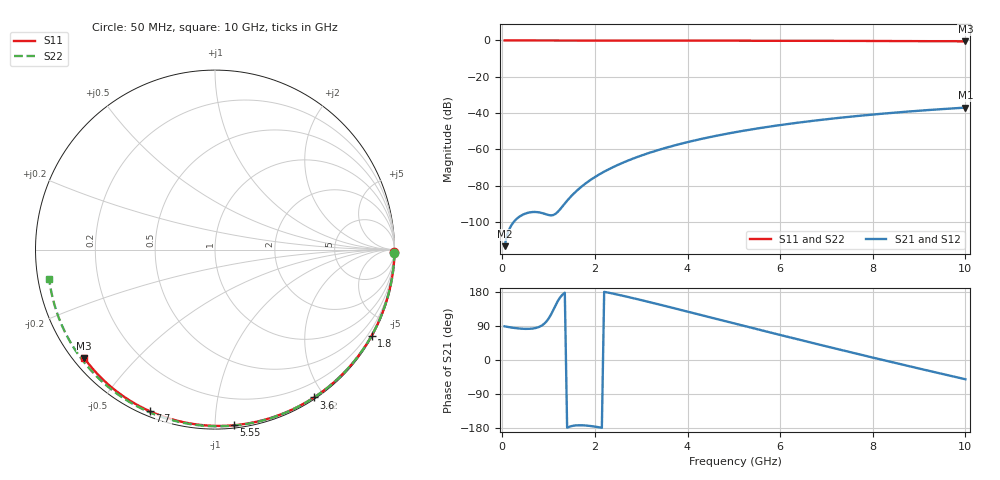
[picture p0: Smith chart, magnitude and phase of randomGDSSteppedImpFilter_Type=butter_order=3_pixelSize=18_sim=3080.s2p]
! freq	dB(S11)	phase(S11)	dB(S12)	phase(S12)
!  dB(S21)	phase(S21)	dB(S22)	phase(S22)
!S-par simulation data
#  GHz  S  DB  R 50
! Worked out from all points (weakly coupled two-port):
!   200 points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, 50 MHz to 10 GHz, reference 50 ohm
!   highest |S21| = -37.04 dB at 10 GHz (marker M1); lowest = -113.5 dB at 50 MHz (marker M2)
!   lowest |S11| = -0.5 dB at 10 GHz (marker M3), VSWR 36.42, Z = 1.55 - j18 ohm
!   |S11| at or under -10 dB: nowhere
!   |S22| runs from -0.6 to 0.0 dB; largest |S21 - S12| = 0
!   S11 on the Smith chart (normalised r, x): 50 MHz: open; 1.8 GHz: 0.03, -3.90; 3.6 GHz: 0.02, -1.87; 5.55 GHz: 0.02, -1.11; 7.7 GHz: 0.02, -0.68; 10 GHz: 0.03, -0.36
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0.05  -0.00 -0.8  -113.46 88.8  -113.46 88.8  -0.00 -1.0
0.45  -0.01 -7.3  -96.00 82.3  -96.00 82.3  -0.01 -8.9
0.85  -0.02 -13.7  -95.13 90.7  -95.13 90.7  -0.02 -16.8
1.3  -0.03 -20.9  -91.49 172.4  -91.49 172.4  -0.03 -25.6
1.7  -0.03 -27.2  -80.84 -172.2  -80.84 -172.2  -0.04 -33.3
1.75  -0.04 -28.0  -79.81 -172.4  -79.81 -172.4  -0.04 -34.2
1.8  -0.04 -28.8  -78.83 -172.9  -78.83 -172.9  -0.04 -35.2
2.1  -0.04 -33.4  -73.80 -177.8  -73.80 -177.8  -0.05 -40.8
2.3  -0.05 -36.5  -71.03 177.5  -71.03 177.5  -0.06 -44.6
2.5  -0.05 -39.6  -68.58 172.3  -68.58 172.3  -0.06 -48.3
2.9  -0.06 -45.7  -64.42 161.1  -64.42 161.1  -0.07 -55.7
3.4  -0.07 -53.2  -60.19 146.1  -60.19 146.1  -0.09 -64.7
3.6  -0.08 -56.2  -58.72 140.0  -58.72 140.0  -0.09 -68.2
4.3  -0.09 -66.4  -54.30 118.4  -54.30 118.4  -0.11 -80.4
5.05  -0.12 -76.9  -50.51 95.2  -50.51 95.2  -0.14 -92.9
5.55  -0.14 -83.8  -48.37 79.9  -48.37 79.9  -0.17 -101.0
6.1  -0.16 -91.2  -46.31 63.1  -46.31 63.1  -0.19 -109.8
6.7  -0.19 -99.1  -44.34 44.9  -44.34 44.9  -0.23 -119.2
7.7  -0.26 -111.9  -41.58 15.2  -41.58 15.2  -0.31 -134.5
8.35  -0.31 -120.0  -40.07 -3.8  -40.07 -3.8  -0.37 -144.5
9.2  -0.39 -130.5  -38.38 -28.2  -38.38 -28.2  -0.46 -157.5
10  -0.48 -140.4  -37.04 -50.8  -37.04 -50.8  -0.55 -170.0
